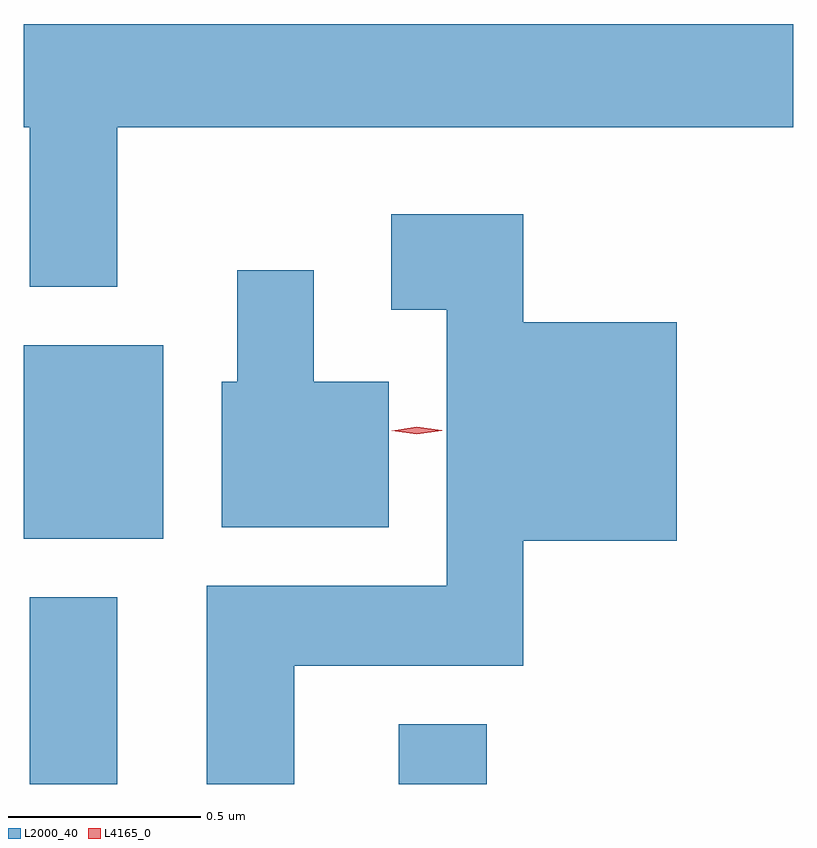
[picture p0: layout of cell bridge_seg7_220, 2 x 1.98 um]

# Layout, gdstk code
import gdstk
lib = gdstk.Library(unit=1e-6, precision=1e-09)
def R(c, l, rs):  # rectangles x0, y0, x1, y1
    for r in rs: c.add(gdstk.rectangle(r[:2], r[2:], *l))
def P(c, l, *ps):  # polygons
    for p in ps: c.add(gdstk.Polygon(p, *l))
L2000_40 = (2000, 40)
L4165_0 = (4165, 0)

bridge_seg7_220 = lib.new_cell('bridge_seg7_220')
R(bridge_seg7_220, L2000_40, [(1503.661,1697.068,1503.889,1697.554), (1504.621,1697.068,1504.849,1697.224), (1503.646,1697.706,1504.009,1698.209)])
P(bridge_seg7_220, L2000_40, [(1503.889,1698.776),(1505.646,1698.776),(1505.646,1699.044),(1503.646,1699.044),(1503.646,1698.776),(1503.661,1698.776),(1503.661,1698.361),(1503.889,1698.361)],
  [(1504.349,1697.376),(1504.944,1697.376),(1504.944,1697.701),(1505.344,1697.701),(1505.344,1698.269),(1504.944,1698.269),(1504.944,1698.549),(1504.601,1698.549),(1504.601,1698.301),(1504.746,1698.301),(1504.746,1697.584),(1504.121,1697.584),(1504.121,1697.068),(1504.349,1697.068)],
  [(1504.594,1698.114),(1504.399,1698.114),(1504.399,1698.404),(1504.201,1698.404),(1504.201,1698.114),(1504.161,1698.114),(1504.161,1697.736),(1504.594,1697.736)])
P(bridge_seg7_220, L4165_0, [(1504.668,1697.977),(1504.602,1697.986),(1504.601,1697.986),(1504.602,1697.987),(1504.667,1697.997),(1504.733,1697.988),(1504.734,1697.988),(1504.733,1697.987)])

lib.write_gds('bridge_seg7_220.gds')
